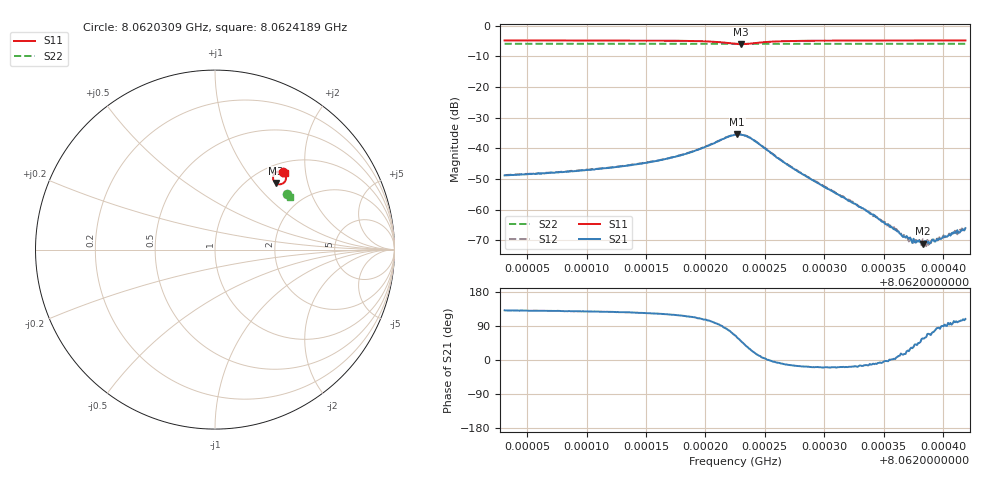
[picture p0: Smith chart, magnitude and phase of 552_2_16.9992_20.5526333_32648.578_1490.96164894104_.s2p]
#  HZ  S  RI  R  50.00
! Rohde & Schwarz Vector Network Analyzer
! Rohde-Schwarz,ZNB20-2Port,1311601062101988,3.16
! Created: UTC 3/20/2024, 11:16:51 PM
! freq[Hz]  re:S11  im:S11  re:S21  im:S21  re:S12  im:S12  re:S22  im:S22
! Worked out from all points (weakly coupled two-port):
!   401 points, 8.0620309 GHz to 8.0624189 GHz, reference 50 ohm
!   highest |S21| = -35.42 dB at 8.0622268 GHz (marker M1); lowest = -71.1 dB at 8.062383 GHz (marker M2)
!   lowest |S11| = -6.0 dB at 8.0622297 GHz (marker M3), VSWR 3.01, Z = 64.8 + j64.3 ohm
!   |S11| at or under -10 dB: nowhere
!   |S22| runs from -5.9 to -5.9 dB; largest |S21 - S12| = 0.0012
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8.06203089e9  0.3791 0.4338  -0.00239 0.00274  -0.00221 0.00294  0.4038 0.3097
8.06209588e9  0.3848 0.4279  -0.00272 0.00345  -0.00251 0.0036  0.4062 0.3062
8.06213274e9  0.3888 0.423  -0.00304 0.00421  -0.00281 0.00444  0.4075 0.3043
8.06216087e9  0.3924 0.4163  -0.00338 0.0054  -0.00305 0.00564  0.4087 0.3025
8.06218706e9  0.3958 0.4042  -0.00352 0.00783  -0.00307 0.00813  0.4095 0.3007
8.06221034e9  0.3892 0.3789  -0.00106 0.0129  -0.000305 0.0132  0.4095 0.2986
8.06222489e9  0.354 0.3642  0.00711 0.0151  0.00806 0.0148  0.4084 0.2977
8.06222683e9  0.347 0.366  0.00877 0.0145  0.00951 0.0141  0.4082 0.2979
8.06222974e9  0.3371 0.3714  0.0108 0.013  0.0115 0.0125  0.4078 0.2979
8.06223847e9  0.3234 0.3997  0.0131 0.00629  0.0135 0.0056  0.4079 0.2991
8.0622666e9  0.3536 0.4358  0.00572 -0.00114  0.00575 -0.0015  0.4108 0.2989
8.06228988e9  0.3676 0.4356  0.0029 -0.001  0.00287 -0.00114  0.4122 0.2976
8.06232189e9  0.3769 0.4326  0.00131 -0.000428  0.0013 -0.000563  0.4136 0.2959
8.06235487e9  0.3823 0.4296  0.000556 8.42e-06  0.000523 -6.84e-05  0.4149 0.294
8.06235972e9  0.3829 0.4293  0.000477 1.98e-05  0.000478 2.38e-06  0.415 0.2937
8.06236651e9  0.3838 0.4287  0.000349 8.82e-05  0.000353 9.58e-05  0.4151 0.2934
8.0623733e9  0.3845 0.4281  0.000266 0.00017  0.000309 9e-05  0.4155 0.293
8.062383e9  0.3855 0.4274  0.000152 0.000235  0.000175 0.000278  0.4157 0.2925
8.06238785e9  0.3861 0.427  0.000107 0.00028  0.000121 0.00024  0.4161 0.2924
8.0623927e9  0.3866 0.4266  7.38e-05 0.000295  9.17e-05 0.000311  0.4162 0.2922
8.06241501e9  0.3886 0.4251  -0.000111 0.000439  -0.000108 0.000453  0.417 0.2907
8.06241889e9  0.389 0.4247  -0.000156 0.000476  -0.000114 0.000443  0.4172 0.2905
